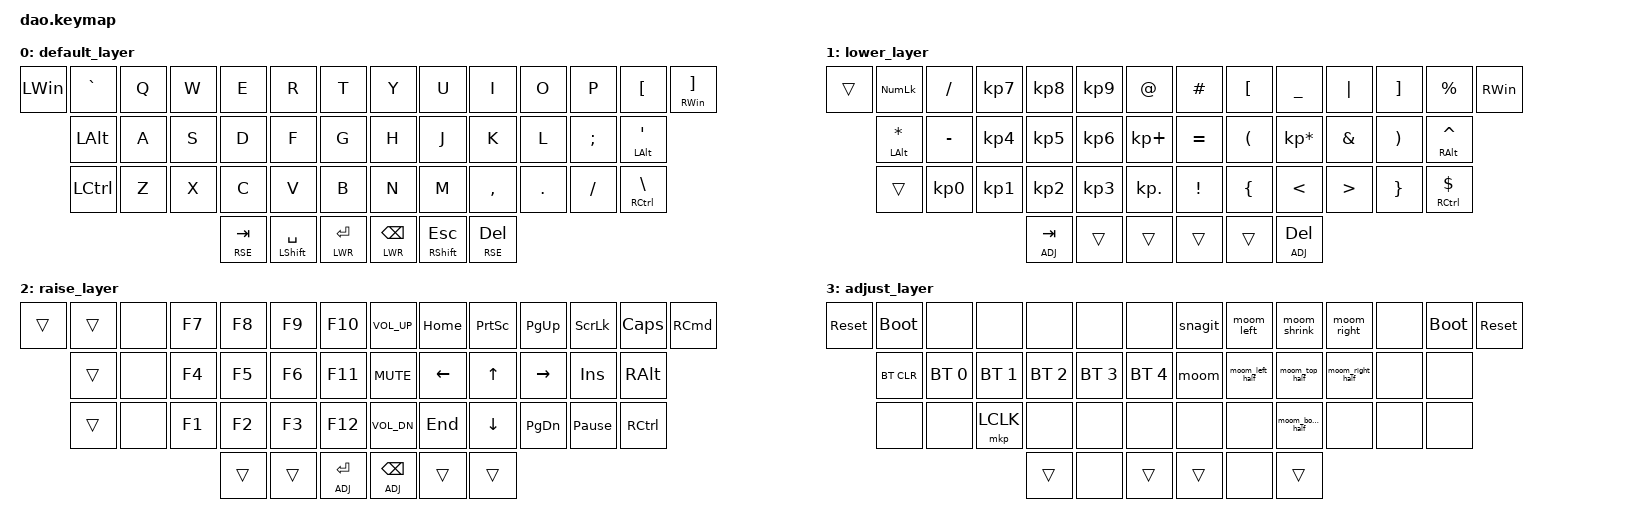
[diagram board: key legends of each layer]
/*
 * Copyright (c) 2021 Rafael Yumagulov
 *
 * SPDX-License-Identifier: MIT
 */

#include <behaviors.dtsi>
#include <dt-bindings/zmk/bt.h>
#include <dt-bindings/zmk/keys.h>
#include <dt-bindings/zmk/mouse.h>

#define DEF 0
#define LWR 1
#define RSE 2
#define ADJ 3

&lt {
    quick_tap_ms = <200>;
};

&mt {
    quick_tap_ms = <200>;
};

/ {
    chosen {
        // zmk,matrix_transform = &default_transform;

        zmk,matrix_transform = &extra_keys_transform;
    };
};

/ {
    macros {
        moom: moom {
            compatible = "zmk,behavior-macro";
            #binding-cells = <0>;
            bindings =
                <&macro_press>,
                <&kp RGUI &kp RALT &kp DOT>,
                <&macro_release>,
                <&kp RGUI &kp RALT &kp DOT>;

            label = "MOOM";
        };

        moom_left_half: moom_left_half {
            compatible = "zmk,behavior-macro";
            #binding-cells = <0>;
            bindings =
                <&moom>,
                <&macro_wait_time 50>,
                <&macro_press>,
                <&kp LEFT_WIN &kp LEFT_ARROW>,
                <&macro_release>,
                <&kp LEFT_WIN &kp LEFT_ARROW>;

            label = "MOOM_LEFT_HALF";
        };

        moom_right_half: moom_right_half {
            compatible = "zmk,behavior-macro";
            #binding-cells = <0>;
            bindings =
                <&moom>,
                <&macro_wait_time 50>,
                <&macro_press>,
                <&kp LEFT_WIN &kp RIGHT_ARROW>,
                <&macro_release>,
                <&kp LEFT_WIN &kp RIGHT_ARROW>;

            label = "MOOM_RIGHT_HALF";
        };

        moom_top_half: moom_top_half {
            compatible = "zmk,behavior-macro";
            #binding-cells = <0>;
            bindings =
                <&moom>,
                <&macro_wait_time 50>,
                <&macro_press>,
                <&kp LEFT_WIN &kp UP_ARROW>,
                <&macro_release>,
                <&kp LEFT_WIN &kp UP_ARROW>;

            label = "MOOM_TOP_HALF";
        };

        moom_bottom_half: moom_bottom_half {
            compatible = "zmk,behavior-macro";
            #binding-cells = <0>;
            bindings =
                <&moom>,
                <&macro_wait_time 50>,
                <&macro_press>,
                <&kp LEFT_WIN &kp DOWN_ARROW>,
                <&macro_release>,
                <&kp LEFT_WIN &kp DOWN_ARROW>;

            label = "MOOM_BOTTOM_HALF";
        };

        moom_shrink: moom_shrink {
            compatible = "zmk,behavior-macro";
            #binding-cells = <0>;
            bindings = <&moom>, <&macro_wait_time 50>, <&macro_tap>, <&kp F8>;

            label = "MOOM_SHRINK";
        };

        moom_revert: moom_revert {
            compatible = "zmk,behavior-macro";
            #binding-cells = <0>;
            bindings = <&moom>, <&macro_wait_time 50>, <&macro_tap>, <&kp F6>;

            label = "MOOM_REVERT";
        };

        moom_left: moom_left {
            compatible = "zmk,behavior-macro";
            #binding-cells = <0>;
            bindings = <&moom>, <&macro_wait_time 50>, <&macro_tap>, <&kp F7>;

            label = "MOOM_LEFT";
        };

        moom_right: moom_right {
            compatible = "zmk,behavior-macro";
            #binding-cells = <0>;
            bindings = <&moom>, <&macro_wait_time 50>, <&macro_tap>, <&kp F9>;

            label = "MOOM_RIGHT";
        };

        snagit: snagit {
            compatible = "zmk,behavior-macro";
            #binding-cells = <0>;
            bindings =
                <&macro_press>,
                <&kp RGUI &kp F13>,
                <&macro_release>,
                <&kp RGUI &kp F13>;

            label = "SNAGIT";
        };

        lock_sceen: lock_sceen {
            compatible = "zmk,behavior-macro";
            #binding-cells = <0>;
            bindings =
                <&macro_press>,
                <&kp LEFT_GUI &kp LEFT_CONTROL &kp Q>,
                <&macro_release>,
                <&kp LEFT_GUI &kp LEFT_CONTROL &kp Q>;

            label = "LOCK_SCEEN";
        };

        undo: undo {
            compatible = "zmk,behavior-macro";
            #binding-cells = <0>;
            bindings =
                <&macro_press>,
                <&kp LEFT_GUI &kp Z>,
                <&macro_release>,
                <&kp LEFT_GUI &kp Z>;

            label = "UNDO";
        };

        redo: redo {
            compatible = "zmk,behavior-macro";
            #binding-cells = <0>;
            bindings =
                <&macro_press>,
                <&kp LEFT_SHIFT &kp LEFT_GUI &kp Z>,
                <&macro_release>,
                <&kp LEFT_SHIFT &kp LEFT_GUI &kp Z>;

            label = "REDO";
        };

        change_layout: change_layout {
            compatible = "zmk,behavior-macro";
            #binding-cells = <0>;
            bindings =
                <&macro_press>,
                <&kp LEFT_GUI &kp SPACE>,
                <&macro_release>,
                <&kp LEFT_GUI &kp SPACE>;

            label = "CHANGE_LAYOUT";
        };

        double_shift: double_shift {
            compatible = "zmk,behavior-macro";
            #binding-cells = <0>;
            bindings =
                <&kp LEFT_SHIFT>,
                <&macro_wait_time 30>,
                <&kp LEFT_SHIFT>;

            label = "DOUBLE_SHIFT";
        };

        plain_text: plain_text {
            compatible = "zmk,behavior-macro";
            #binding-cells = <0>;
            bindings =
                <&macro_press>,
                <&kp LEFT_SHIFT &kp LEFT_GUI &kp K>,
                <&macro_release>,
                <&kp LEFT_SHIFT &kp LEFT_GUI &kp K>;

            label = "PLAIN_TEXT";
        };
    };

    combos {
        compatible = "zmk,combos";

        combo_next {
            timeout-ms = <50>;
            key-positions = <22 23>;
            layers = <2>;
            bindings = <&kp C_NEXT>;
        };

        combo_prev {
            timeout-ms = <50>;
            key-positions = <21 22>;
            layers = <2>;
            bindings = <&kp C_PREVIOUS>;
        };

        combo_pause {
            timeout-ms = <50>;
            key-positions = <21 22 23>;
            layers = <2>;
            bindings = <&kp C_PLAY_PAUSE>;
        };

        lock_screen {
            bindings = <&lock_sceen>;
            key-positions = <5 4 3>;
            layers = <0>;
            timeout-ms = <50>;
        };

        undo {
            bindings = <&undo>;
            key-positions = <21 22>;
            layers = <0>;
            timeout-ms = <50>;
        };

        redo {
            bindings = <&redo>;
            key-positions = <22 23>;
            layers = <0>;
            timeout-ms = <50>;
        };

        change_layout {
            bindings = <&change_layout>;
            key-positions = <18 17 16>;
            layers = <0>;
            timeout-ms = <50>;
        };

        double_shift {
            bindings = <&double_shift>;
            key-positions = <39 42>;
            layers = <0>;
        };

        plain_text {
            bindings = <&plain_text>;
            key-positions = <28 29 30>;
            layers = <0>;
            timeout-ms = <50>;
        };
    };

    keymap {
        compatible = "zmk,keymap";

        default_layer {
            bindings = <
&kp LWIN  &kp GRAVE         &kp Q  &kp W  &kp E        &kp R            &kp T          &kp Y              &kp U          &kp I        &kp O    &kp P     &kp LBKT                &mt RWIN RBKT
          &kp LEFT_ALT      &kp A  &kp S  &kp D        &kp F            &kp G          &kp H              &kp J          &kp K        &kp L    &kp SEMI  &mt LEFT_ALT SQT
          &kp LEFT_CONTROL  &kp Z  &kp X  &kp C        &kp V            &kp B          &kp N              &kp M          &kp COMMA    &kp DOT  &kp FSLH  &mt RIGHT_CONTROL BSLH
                                          &lt RSE TAB  &mt LSHFT SPACE  &lt LWR RET    &lt LWR BACKSPACE  &mt RSHFT ESC  &lt RSE DEL
            >;
        };

        lower_layer {
            bindings = <
&trans  &kp KP_NUMLOCK     &kp SLASH  &kp KP_N7  &kp KP_N8    &kp KP_N9  &kp AT_SIGN    &kp HASH   &kp LEFT_BRACKET      &kp UNDERSCORE   &kp PIPE          &kp RIGHT_BRACKET      &kp PERCENT          &kp RWIN
        &mt LEFT_ALT STAR  &kp MINUS  &kp KP_N4  &kp KP_N5    &kp KP_N6  &kp KP_PLUS    &kp EQUAL  &kp LEFT_PARENTHESIS  &kp KP_ASTERISK  &kp AMPERSAND     &kp RIGHT_PARENTHESIS  &mt RIGHT_ALT CARET
        &trans             &kp KP_N0  &kp KP_N1  &kp KP_N2    &kp KP_N3  &kp KP_DOT     &kp EXCL   &kp LEFT_BRACE        &kp LESS_THAN    &kp GREATER_THAN  &kp RIGHT_BRACE        &mt RCTRL DOLLAR
                                                 &lt ADJ TAB  &trans     &trans         &trans     &trans                &lt ADJ DEL
            >;
        };

        raise_layer {
            bindings = <
&trans  &trans  &none  &kp F7  &kp F8  &kp F9  &kp F10        &kp C_VOL_UP       &kp HOME  &kp PSCRN  &kp PG_UP  &kp SLCK         &kp CAPS           &kp RIGHT_COMMAND
        &trans  &none  &kp F4  &kp F5  &kp F6  &kp F11        &kp C_MUTE         &kp LEFT  &kp UP     &kp RIGHT  &kp INS          &kp RIGHT_ALT
        &trans  &none  &kp F1  &kp F2  &kp F3  &kp F12        &kp C_VOL_DN       &kp END   &kp DOWN   &kp PG_DN  &kp PAUSE_BREAK  &kp RIGHT_CONTROL
                               &trans  &trans  &lt ADJ RET    &lt ADJ BACKSPACE  &trans    &trans
            >;
        };

        adjust_layer {
            bindings = <
&sys_reset  &bootloader  &none         &none         &none         &none         &none           &snagit  &moom_left       &moom_shrink       &moom_right       &none  &bootloader  &sys_reset
            &bt BT_CLR   &bt BT_SEL 0  &bt BT_SEL 1  &bt BT_SEL 2  &bt BT_SEL 3  &bt BT_SEL 4    &moom    &moom_left_half  &moom_top_half     &moom_right_half  &none  &none
            &none        &none         &mkp LCLK     &none         &none         &none           &none    &none            &moom_bottom_half  &none             &none  &none
                                                     &trans        &none         &trans          &trans   &none            &trans
            >;
        };
    };
};
